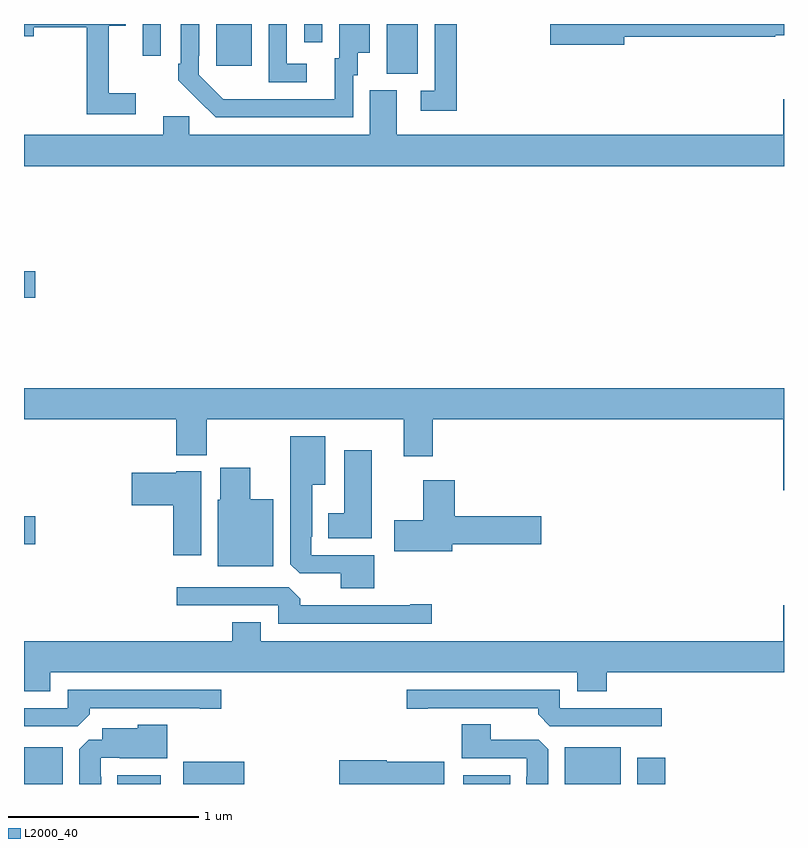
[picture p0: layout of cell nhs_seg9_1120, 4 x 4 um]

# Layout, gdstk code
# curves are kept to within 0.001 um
import gdstk
lib = gdstk.Library(unit=1e-6, precision=1e-09)
def R(c, l, rs):  # rectangles x0, y0, x1, y1
    for r in rs: c.add(gdstk.rectangle(r[:2], r[2:], *l))
def P(c, l, *ps):  # polygons
    for p in ps: c.add(gdstk.Polygon(p, *l))
L2000_40 = (2000, 40)

nhs_seg9_1120 = lib.new_cell('nhs_seg9_1120')
R(nhs_seg9_1120, L2000_40, [(173,1194.5,173.203,1194.694), (173.492,1194.5,173.719,1194.547), (173.838,1194.5,174.16,1194.616), (175.313,1194.5,175.558,1194.547), (175.847,1194.5,176.14,1194.694), (176.228,1194.5,176.375,1194.637), (173,1195.763,173.059,1195.91), (173,1197.058,173.059,1197.2), (174.908,1198.237,175.072,1198.5), (174.011,1198.281,174.199,1198.5), (173.625,1198.332,173.721,1198.5), (174.474,1198.404,174.57,1198.5)])
P(nhs_seg9_1120, L2000_40, [(176.158,1198.432),(176.954,1198.432),(176.954,1198.44),(177,1198.44),(177,1198.5),(175.77,1198.5),(175.77,1198.39),(176.158,1198.39)],
  [(173.587,1198.135),(173.447,1198.135),(173.447,1198.49),(173.536,1198.49),(173.536,1198.5),(173,1198.5),(173,1198.436),(173.05,1198.436),(173.05,1198.483),(173.329,1198.483),(173.329,1198.026),(173.587,1198.026)],
  [(174.732,1198.23),(174.757,1198.23),(174.757,1198.349),(174.82,1198.349),(174.82,1198.5),(174.659,1198.5),(174.659,1198.32),(174.635,1198.32),(174.635,1198.104),(174.048,1198.105),(173.919,1198.233),(173.919,1198.333),(173.922,1198.333),(173.922,1198.5),(173.826,1198.5),(173.826,1198.291),(173.811,1198.291),(173.811,1198.203),(174.008,1198.008),(174.732,1198.008)],
  [(174.487,1198.29),(174.384,1198.29),(174.384,1198.5),(174.288,1198.5),(174.288,1198.194),(174.487,1198.194)],
  [(175.277,1198.5),(175.161,1198.5),(175.161,1198.149),(175.089,1198.149),(175.089,1198.044),(175.277,1198.044)],
  [(174.821,1198.152),(174.821,1197.916),(173.871,1197.916),(173.871,1198.014),(173.732,1198.014),(173.732,1197.916),(173,1197.916),(173,1197.752),(177,1197.752),(177,1198.105),(176.996,1198.105),(176.996,1197.916),(174.961,1197.916),(174.961,1198.152)],
  [(177,1196.584),(173,1196.584),(173,1196.42),(173.801,1196.42),(173.801,1196.231),(173.961,1196.231),(173.961,1196.42),(174.998,1196.42),(174.998,1196.226),(175.151,1196.226),(175.151,1196.42),(176.996,1196.42),(176.996,1196.046),(177,1196.046)],
  [(174.844,1195.704),(174.513,1195.704),(174.513,1195.801),(174.517,1195.801),(174.517,1196.075),(174.586,1196.075),(174.586,1196.329),(174.401,1196.329),(174.401,1195.657),(174.45,1195.608),(174.668,1195.608),(174.668,1195.529),(174.844,1195.529)],
  [(174.829,1196.257),(174.686,1196.257),(174.686,1195.924),(174.602,1195.924),(174.602,1195.793),(174.829,1195.793)],
  [(174.313,1195.999),(174.19,1195.999),(174.19,1196.164),(174.032,1196.164),(174.032,1195.995),(174.02,1195.995),(174.02,1195.646),(174.313,1195.646)],
  [(173.932,1196.146),(173.802,1196.146),(173.802,1196.137),(173.568,1196.137),(173.568,1195.967),(173.786,1195.967),(173.786,1195.704),(173.932,1195.704)],
  [(175.255,1195.763),(175.723,1195.763),(175.723,1195.91),(175.268,1195.91),(175.268,1196.098),(175.1,1196.098),(175.1,1195.887),(174.948,1195.887),(174.948,1195.724),(175.255,1195.724)],
  [(175.147,1195.445),(175.034,1195.445),(175.034,1195.44),(174.455,1195.44),(174.455,1195.474),(174.393,1195.536),(173.805,1195.536),(173.805,1195.44),(174.339,1195.44),(174.339,1195.344),(175.147,1195.344)],
  [(173.137,1195.088),(175.913,1195.088),(175.913,1194.989),(176.066,1194.989),(176.066,1195.088),(177,1195.088),(177,1195.441),(176.996,1195.441),(176.996,1195.252),(174.247,1195.252),(174.247,1195.351),(174.095,1195.351),(174.095,1195.252),(173,1195.252),(173,1194.989),(173.137,1194.989)],
  [(173.345,1194.866),(173.345,1194.9),(173.924,1194.9),(173.924,1194.895),(174.037,1194.895),(174.037,1194.996),(173.229,1194.996),(173.229,1194.9),(173,1194.9),(173,1194.804),(173.283,1194.804)],
  [(176.356,1194.9),(175.821,1194.9),(175.821,1194.996),(175.014,1194.996),(175.014,1194.895),(175.126,1194.895),(175.126,1194.9),(175.706,1194.9),(175.706,1194.866),(175.767,1194.804),(176.356,1194.804)],
  [(175.759,1194.683),(175.71,1194.732),(175.456,1194.732),(175.456,1194.815),(175.304,1194.815),(175.304,1194.636),(175.647,1194.636),(175.647,1194.539),(175.643,1194.539),(175.643,1194.5),(175.759,1194.5)],
  [(173.407,1194.539),(173.403,1194.539),(173.403,1194.639),(173.503,1194.639),(173.503,1194.635),(173.755,1194.635),(173.755,1194.811),(173.598,1194.811),(173.598,1194.793),(173.411,1194.793),(173.411,1194.732),(173.34,1194.732),(173.291,1194.683),(173.291,1194.5),(173.407,1194.5)],
  [(175.213,1194.616),(174.909,1194.616),(174.909,1194.624),(174.66,1194.624),(174.66,1194.5),(175.213,1194.5)])

lib.write_gds('nhs_seg9_1120.gds')
